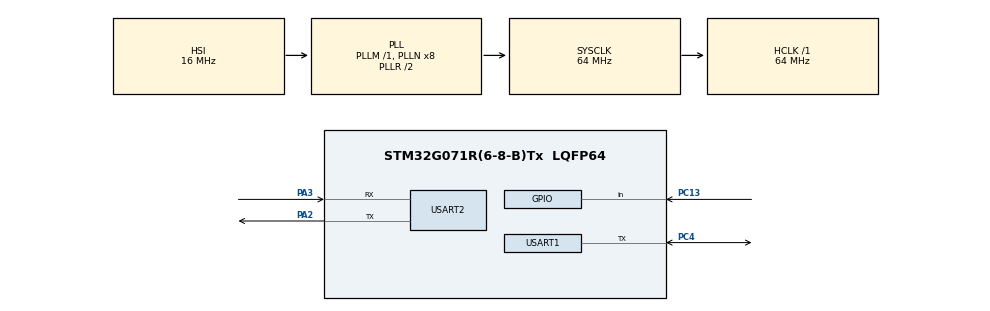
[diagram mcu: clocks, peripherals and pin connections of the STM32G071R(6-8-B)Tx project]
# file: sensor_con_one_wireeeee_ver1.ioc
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Mcu.Family=STM32G0
Mcu.Name=STM32G071R(6-8-B)Tx
Mcu.Package=LQFP64
PA13.Mode=Serial_Wire
PA13.Signal=SYS_SWDIO
PA14-BOOT0.Mode=Serial_Wire
PA14-BOOT0.Signal=SYS_SWCLK
PA2.Mode=Asynchronous
PA2.Signal=USART2_TX
PA3.Mode=Asynchronous
PA3.Signal=USART2_RX
PC13.GPIO_PuPd=GPIO_PULLUP
PC13.Signal=GPIO_Input
PC4.Mode=Half_duplex(single_wire_mode)
PC4.Signal=USART1_TX
ProjectManager.HeapSize=0x200
ProjectManager.StackSize=0x400
ProjectManager.TargetToolchain=STM32CubeIDE
RCC.ADCFreq_Value=64000000
RCC.AHBFreq_Value=64000000
RCC.CortexFreq_Value=64000000
RCC.EXTERNAL_CLOCK_VALUE=12288000
RCC.HCLKFreq_Value=64000000
RCC.HSE_VALUE=8000000
RCC.HSI_VALUE=16000000
RCC.SYSCLKFreq_VALUE=64000000
RCC.SYSCLKSource=RCC_SYSCLKSOURCE_PLLCLK
RCC.VCOOutputFreq_Value=128000000
USART1.BaudRate=2400
USART1.VirtualMode-Half_duplex(single_wire_mode)=VM_ASYNC
USART2.VirtualMode-Asynchronous=VM_ASYNC
VP_SYS_VS_DBSignals.Mode=DisableDeadBatterySignals
board=NUCLEO-G071RB

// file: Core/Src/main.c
/* USER CODE BEGIN Header */
/**
  ******************************************************************************
  * @file           : main.c
  * @brief          : Main program body
  ******************************************************************************
  * @attention
  *
  * Copyright (c) 2024 STMicroelectronics.
  * All rights reserved.
  *
  * This software is licensed under terms that can be found in the LICENSE file
  * in the root directory of this software component.
  * If no LICENSE file comes with this software, it is provided AS-IS.
  *
  ******************************************************************************
  */
/* USER CODE END Header */
#include "main.h"

/* USER CODE BEGIN Includes */
#include <stdio.h>
#include <string.h>
/* USER CODE END Includes */

UART_HandleTypeDef huart1;
UART_HandleTypeDef huart2;

/* USER CODE BEGIN PV */
uint8_t receivedData[19];
char buffer[19];
uint32_t currentTime1, currentTime2, currentTime , currentMillis , previousMillis ;
int index1 = 0;
int x = 0;
/* USER CODE END PV */

void SystemClock_Config(void);
static void MX_GPIO_Init(void);
static void MX_USART2_UART_Init(void);
static void MX_USART1_UART_Init(void);

/* USER CODE BEGIN 0 */
int _write(int file, char *ptr, int len)
{
	HAL_UART_Transmit(&huart2,(uint8_t*)ptr,len,HAL_MAX_DELAY);
	return len;
}

void switchToGPIO_Mode() {
    HAL_UART_DeInit(&huart1);  // Disable UART1 to free PC4
    RCC->IOPENR |= RCC_IOPENR_GPIOCEN;  // Enable clock for GPIOC

    // Configure PC4 as Output
    GPIOC->MODER &= ~GPIO_MODER_MODE4_Msk;  // Clear mode bits for PC4
    GPIOC->MODER |= (1 << GPIO_MODER_MODE4_Pos);  // Set PC4 to output mode
    GPIOC->PUPDR &= ~GPIO_PUPDR_PUPD4_Msk;  // No pull-up/pull-down
    GPIOC->OSPEEDR &= ~GPIO_OSPEEDR_OSPEED4_Msk;  // Set PC4 to low speed
}

// Switch PC4 back to UART mode
void switchToUART_Mode() {
    HAL_GPIO_DeInit(GPIOC, GPIO_PIN_4);  // Deinitialize GPIO on PC4
    MX_USART1_UART_Init();  // Reinitialize UART1
}

// Send a 500 ms pulse on PC4
void sendPulseToSensor() {
	currentTime1 = HAL_GetTick();  // Record start time
    GPIOC->BSRR = GPIO_BSRR_BS4;  // Set PC4 to HIGH
    HAL_Delay(500);               // Delay for 500 ms
    currentTime2 = HAL_GetTick();  // Record end time
    GPIOC->BSRR = GPIO_BSRR_BR4;  // Set PC4 to LOW
}

// Receive data from sensor and store in receivedData buffer
void receiveDataFromSensor() {
    index1 = 0;  // Reset data buffer index
//    while (index1 < 20) {
//        if (HAL_UART_Receive(&huart1, &receivedData[index1], 1, 100) == HAL_OK) {
//            printf("Received Data at index %d: %X(%d)\n", index1, receivedData[index1], receivedData[index1]);
//            index1++;  // Increment buffer index
//        }
//    }

    while(HAL_UART_Receive(&huart1, &receivedData[index1], 1, 100) == HAL_OK){
    	index1++;
    }

    for(int i = 0 ; i < index1 ; i++){
    	//printf("Received Data at index %d: %X(%d)\n", i, receivedData[i], receivedData[i]);

    	switch(i){
    		case 1 : printf("1) Starting mark : %X(%d)\n", receivedData[i], receivedData[i]); break;
    		case 2 : printf("2) Length : %X(%d)\n", receivedData[i], receivedData[i]); break;
    		case 3 : printf("3) Ctrlcode : %X(%d)\n", receivedData[i], receivedData[i]); break;
    		case 4 : printf("4) Major Version : %X(%d)\n", receivedData[i], receivedData[i]); break;
    		case 5 : printf("5) Subversion : %X(%d)\n", receivedData[i], receivedData[i]); break;
    		case 6 : printf("6) Signal intensity : %X(%d)\n", receivedData[i], receivedData[i]); break;
    		case 7 : printf("7) Signal indication : %X(%d)\n", receivedData[i], receivedData[i]); break;
    		case 8 :
    		case 9 :
    		case 10 :
    		case 11 :printf("%d) Forward pulse : %X(%d)\n", i , receivedData[i], receivedData[i]); break;
    		case 12 :
    		case 13 :
    		case 14:
    		case 15 : printf("%d) Reverse pluse : %X(%d)\n", i ,receivedData[i], receivedData[i]); break;
    		case 16 : printf("16) Status byte : %X(%d)\n", receivedData[i], receivedData[i]); break;
    		case 17 : printf("17) Debug byte : %X(%d)\n", receivedData[i], receivedData[i]); break;
    		case 18 : printf("18) Cs : %X(%d)\n", receivedData[i], receivedData[i]); break;
    		case 19 : printf("19) Enging mark : %X(%d)\n", receivedData[i], receivedData[i]); break;
    	}
    }

    printf("Received all data!\n");
}

void handleSensorCommunication(){

	      switchToGPIO_Mode();

	  	  HAL_Delay(2);
	  	  sendPulseToSensor();  // Send pulse to sensor
	  	  switchToUART_Mode();  // Switch PC4 back to UART mode
	  	  HAL_Delay(2);         //
	  	  currentTime = currentTime2 - currentTime1;  // Calculate pulse duration

	  	  printf("senddata : %ld\n\r", currentTime);  // Print transmitted data

	      receiveDataFromSensor();  // Call function to receive data

	 }
/* USER CODE END 0 */

int main(void)
{

  /* MCU Configuration--------------------------------------------------------*/

  /* Reset of all peripherals, Initializes the Flash interface and the Systick. */
  HAL_Init();

  /* Configure the system clock */
  SystemClock_Config();

  /* Initialize all configured peripherals */
  MX_GPIO_Init();
  MX_USART2_UART_Init();
  MX_USART1_UART_Init();

  /* Infinite loop */
  /* USER CODE BEGIN WHILE */
  while (1)
  {
	  currentMillis = HAL_GetTick();

	  if(currentMillis - previousMillis >= 10000){

		  previousMillis = currentMillis;

		  handleSensorCommunication();
	  }
    /* USER CODE END WHILE */

  }
}

void SystemClock_Config(void)
{
  RCC_OscInitTypeDef RCC_OscInitStruct = {0};
  RCC_ClkInitTypeDef RCC_ClkInitStruct = {0};

  /** Configure the main internal regulator output voltage
  */
  HAL_PWREx_ControlVoltageScaling(PWR_REGULATOR_VOLTAGE_SCALE1);

  /** Initializes the RCC Oscillators according to the specified parameters
  * in the RCC_OscInitTypeDef structure.
  */
  RCC_OscInitStruct.OscillatorType = RCC_OSCILLATORTYPE_HSI;
  RCC_OscInitStruct.HSIState = RCC_HSI_ON;
  RCC_OscInitStruct.HSIDiv = RCC_HSI_DIV1;
  RCC_OscInitStruct.HSICalibrationValue = RCC_HSICALIBRATION_DEFAULT;
  RCC_OscInitStruct.PLL.PLLState = RCC_PLL_ON;
  RCC_OscInitStruct.PLL.PLLSource = RCC_PLLSOURCE_HSI;
  RCC_OscInitStruct.PLL.PLLM = RCC_PLLM_DIV1;
  RCC_OscInitStruct.PLL.PLLN = 8;
  RCC_OscInitStruct.PLL.PLLP = RCC_PLLP_DIV2;
  RCC_OscInitStruct.PLL.PLLQ = RCC_PLLQ_DIV2;
  RCC_OscInitStruct.PLL.PLLR = RCC_PLLR_DIV2;
  if (HAL_RCC_OscConfig(&RCC_OscInitStruct) != HAL_OK)
  {
    Error_Handler();
  }

  /** Initializes the CPU, AHB and APB buses clocks
  */
  RCC_ClkInitStruct.ClockType = RCC_CLOCKTYPE_HCLK|RCC_CLOCKTYPE_SYSCLK
                              |RCC_CLOCKTYPE_PCLK1;
  RCC_ClkInitStruct.SYSCLKSource = RCC_SYSCLKSOURCE_PLLCLK;
  RCC_ClkInitStruct.AHBCLKDivider = RCC_SYSCLK_DIV1;
  RCC_ClkInitStruct.APB1CLKDivider = RCC_HCLK_DIV1;

  if (HAL_RCC_ClockConfig(&RCC_ClkInitStruct, FLASH_LATENCY_2) != HAL_OK)
  {
    Error_Handler();
  }
}

static void MX_USART1_UART_Init(void)
{

  huart1.Instance = USART1;
  huart1.Init.BaudRate = 2400;
  huart1.Init.WordLength = UART_WORDLENGTH_8B;
  huart1.Init.StopBits = UART_STOPBITS_1;
  huart1.Init.Parity = UART_PARITY_NONE;
  huart1.Init.Mode = UART_MODE_TX_RX;
  huart1.Init.HwFlowCtl = UART_HWCONTROL_NONE;
  huart1.Init.OverSampling = UART_OVERSAMPLING_16;
  huart1.Init.OneBitSampling = UART_ONE_BIT_SAMPLE_DISABLE;
  huart1.Init.ClockPrescaler = UART_PRESCALER_DIV1;
  huart1.AdvancedInit.AdvFeatureInit = UART_ADVFEATURE_NO_INIT;
  if (HAL_HalfDuplex_Init(&huart1) != HAL_OK)
  {
    Error_Handler();
  }
  if (HAL_UARTEx_SetTxFifoThreshold(&huart1, UART_TXFIFO_THRESHOLD_1_8) != HAL_OK)
  {
    Error_Handler();
  }
  if (HAL_UARTEx_SetRxFifoThreshold(&huart1, UART_RXFIFO_THRESHOLD_1_8) != HAL_OK)
  {
    Error_Handler();
  }
  if (HAL_UARTEx_DisableFifoMode(&huart1) != HAL_OK)
  {
    Error_Handler();
  }

}

static void MX_USART2_UART_Init(void)
{

  huart2.Instance = USART2;
  huart2.Init.BaudRate = 115200;
  huart2.Init.WordLength = UART_WORDLENGTH_8B;
  huart2.Init.StopBits = UART_STOPBITS_1;
  huart2.Init.Parity = UART_PARITY_NONE;
  huart2.Init.Mode = UART_MODE_TX_RX;
  huart2.Init.HwFlowCtl = UART_HWCONTROL_NONE;
  huart2.Init.OverSampling = UART_OVERSAMPLING_16;
  huart2.Init.OneBitSampling = UART_ONE_BIT_SAMPLE_DISABLE;
  huart2.Init.ClockPrescaler = UART_PRESCALER_DIV1;
  huart2.AdvancedInit.AdvFeatureInit = UART_ADVFEATURE_NO_INIT;
  if (HAL_UART_Init(&huart2) != HAL_OK)
  {
    Error_Handler();
  }
  if (HAL_UARTEx_SetTxFifoThreshold(&huart2, UART_TXFIFO_THRESHOLD_1_8) != HAL_OK)
  {
    Error_Handler();
  }
  if (HAL_UARTEx_SetRxFifoThreshold(&huart2, UART_RXFIFO_THRESHOLD_1_8) != HAL_OK)
  {
    Error_Handler();
  }
  if (HAL_UARTEx_DisableFifoMode(&huart2) != HAL_OK)
  {
    Error_Handler();
  }

}

static void MX_GPIO_Init(void)
{
  GPIO_InitTypeDef GPIO_InitStruct = {0};

  /* GPIO Ports Clock Enable */
  __HAL_RCC_GPIOC_CLK_ENABLE();
  __HAL_RCC_GPIOA_CLK_ENABLE();

  /*Configure GPIO pin : PC13 */
  GPIO_InitStruct.Pin = GPIO_PIN_13;
  GPIO_InitStruct.Mode = GPIO_MODE_INPUT;
  GPIO_InitStruct.Pull = GPIO_PULLUP;
  HAL_GPIO_Init(GPIOC, &GPIO_InitStruct);

}

void Error_Handler(void)
{
  __disable_irq();
  while (1)
  {
  }
}
